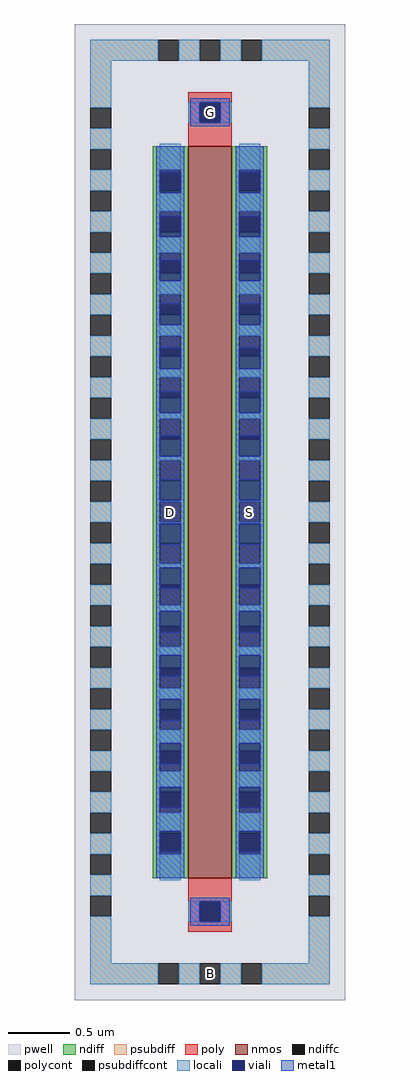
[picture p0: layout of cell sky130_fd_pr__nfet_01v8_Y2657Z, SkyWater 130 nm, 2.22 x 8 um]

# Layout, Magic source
magic
tech sky130A
magscale 1 2
<< pwell >>
rect -222 -800 222 800
<< nmos >>
rect -36 -600 36 600
<< ndiff >>
rect -94 561 -36 600
rect -94 527 -82 561
rect -48 527 -36 561
rect -94 493 -36 527
rect -94 459 -82 493
rect -48 459 -36 493
rect -94 425 -36 459
rect -94 391 -82 425
rect -48 391 -36 425
rect -94 357 -36 391
rect -94 323 -82 357
rect -48 323 -36 357
rect -94 289 -36 323
rect -94 255 -82 289
rect -48 255 -36 289
rect -94 221 -36 255
rect -94 187 -82 221
rect -48 187 -36 221
rect -94 153 -36 187
rect -94 119 -82 153
rect -48 119 -36 153
rect -94 85 -36 119
rect -94 51 -82 85
rect -48 51 -36 85
rect -94 17 -36 51
rect -94 -17 -82 17
rect -48 -17 -36 17
rect -94 -51 -36 -17
rect -94 -85 -82 -51
rect -48 -85 -36 -51
rect -94 -119 -36 -85
rect -94 -153 -82 -119
rect -48 -153 -36 -119
rect -94 -187 -36 -153
rect -94 -221 -82 -187
rect -48 -221 -36 -187
rect -94 -255 -36 -221
rect -94 -289 -82 -255
rect -48 -289 -36 -255
rect -94 -323 -36 -289
rect -94 -357 -82 -323
rect -48 -357 -36 -323
rect -94 -391 -36 -357
rect -94 -425 -82 -391
rect -48 -425 -36 -391
rect -94 -459 -36 -425
rect -94 -493 -82 -459
rect -48 -493 -36 -459
rect -94 -527 -36 -493
rect -94 -561 -82 -527
rect -48 -561 -36 -527
rect -94 -600 -36 -561
rect 36 561 94 600
rect 36 527 48 561
rect 82 527 94 561
rect 36 493 94 527
rect 36 459 48 493
rect 82 459 94 493
rect 36 425 94 459
rect 36 391 48 425
rect 82 391 94 425
rect 36 357 94 391
rect 36 323 48 357
rect 82 323 94 357
rect 36 289 94 323
rect 36 255 48 289
rect 82 255 94 289
rect 36 221 94 255
rect 36 187 48 221
rect 82 187 94 221
rect 36 153 94 187
rect 36 119 48 153
rect 82 119 94 153
rect 36 85 94 119
rect 36 51 48 85
rect 82 51 94 85
rect 36 17 94 51
rect 36 -17 48 17
rect 82 -17 94 17
rect 36 -51 94 -17
rect 36 -85 48 -51
rect 82 -85 94 -51
rect 36 -119 94 -85
rect 36 -153 48 -119
rect 82 -153 94 -119
rect 36 -187 94 -153
rect 36 -221 48 -187
rect 82 -221 94 -187
rect 36 -255 94 -221
rect 36 -289 48 -255
rect 82 -289 94 -255
rect 36 -323 94 -289
rect 36 -357 48 -323
rect 82 -357 94 -323
rect 36 -391 94 -357
rect 36 -425 48 -391
rect 82 -425 94 -391
rect 36 -459 94 -425
rect 36 -493 48 -459
rect 82 -493 94 -459
rect 36 -527 94 -493
rect 36 -561 48 -527
rect 82 -561 94 -527
rect 36 -600 94 -561
<< ndiffc >>
rect -82 527 -48 561
rect -82 459 -48 493
rect -82 391 -48 425
rect -82 323 -48 357
rect -82 255 -48 289
rect -82 187 -48 221
rect -82 119 -48 153
rect -82 51 -48 85
rect -82 -17 -48 17
rect -82 -85 -48 -51
rect -82 -153 -48 -119
rect -82 -221 -48 -187
rect -82 -289 -48 -255
rect -82 -357 -48 -323
rect -82 -425 -48 -391
rect -82 -493 -48 -459
rect -82 -561 -48 -527
rect 48 527 82 561
rect 48 459 82 493
rect 48 391 82 425
rect 48 323 82 357
rect 48 255 82 289
rect 48 187 82 221
rect 48 119 82 153
rect 48 51 82 85
rect 48 -17 82 17
rect 48 -85 82 -51
rect 48 -153 82 -119
rect 48 -221 82 -187
rect 48 -289 82 -255
rect 48 -357 82 -323
rect 48 -425 82 -391
rect 48 -493 82 -459
rect 48 -561 82 -527
<< psubdiff >>
rect -196 740 -85 774
rect -51 740 -17 774
rect 17 740 51 774
rect 85 740 196 774
rect -196 663 -162 740
rect -196 595 -162 629
rect 162 663 196 740
rect -196 527 -162 561
rect -196 459 -162 493
rect -196 391 -162 425
rect -196 323 -162 357
rect -196 255 -162 289
rect -196 187 -162 221
rect -196 119 -162 153
rect -196 51 -162 85
rect -196 -17 -162 17
rect -196 -85 -162 -51
rect -196 -153 -162 -119
rect -196 -221 -162 -187
rect -196 -289 -162 -255
rect -196 -357 -162 -323
rect -196 -425 -162 -391
rect -196 -493 -162 -459
rect -196 -561 -162 -527
rect -196 -629 -162 -595
rect 162 595 196 629
rect 162 527 196 561
rect 162 459 196 493
rect 162 391 196 425
rect 162 323 196 357
rect 162 255 196 289
rect 162 187 196 221
rect 162 119 196 153
rect 162 51 196 85
rect 162 -17 196 17
rect 162 -85 196 -51
rect 162 -153 196 -119
rect 162 -221 196 -187
rect 162 -289 196 -255
rect 162 -357 196 -323
rect 162 -425 196 -391
rect 162 -493 196 -459
rect 162 -561 196 -527
rect -196 -740 -162 -663
rect 162 -629 196 -595
rect 162 -740 196 -663
rect -196 -774 -85 -740
rect -51 -774 -17 -740
rect 17 -774 51 -740
rect 85 -774 196 -740
<< psubdiffcont >>
rect -85 740 -51 774
rect -17 740 17 774
rect 51 740 85 774
rect -196 629 -162 663
rect 162 629 196 663
rect -196 561 -162 595
rect -196 493 -162 527
rect -196 425 -162 459
rect -196 357 -162 391
rect -196 289 -162 323
rect -196 221 -162 255
rect -196 153 -162 187
rect -196 85 -162 119
rect -196 17 -162 51
rect -196 -51 -162 -17
rect -196 -119 -162 -85
rect -196 -187 -162 -153
rect -196 -255 -162 -221
rect -196 -323 -162 -289
rect -196 -391 -162 -357
rect -196 -459 -162 -425
rect -196 -527 -162 -493
rect -196 -595 -162 -561
rect 162 561 196 595
rect 162 493 196 527
rect 162 425 196 459
rect 162 357 196 391
rect 162 289 196 323
rect 162 221 196 255
rect 162 153 196 187
rect 162 85 196 119
rect 162 17 196 51
rect 162 -51 196 -17
rect 162 -119 196 -85
rect 162 -187 196 -153
rect 162 -255 196 -221
rect 162 -323 196 -289
rect 162 -391 196 -357
rect 162 -459 196 -425
rect 162 -527 196 -493
rect 162 -595 196 -561
rect -196 -663 -162 -629
rect 162 -663 196 -629
rect -85 -774 -51 -740
rect -17 -774 17 -740
rect 51 -774 85 -740
<< poly >>
rect -36 672 36 688
rect -36 638 -17 672
rect 17 638 36 672
rect -36 600 36 638
rect -36 -638 36 -600
rect -36 -672 -17 -638
rect 17 -672 36 -638
rect -36 -688 36 -672
<< polycont >>
rect -17 638 17 672
rect -17 -672 17 -638
<< locali >>
rect -196 740 -85 774
rect -51 740 -17 774
rect 17 740 51 774
rect 85 740 196 774
rect -196 663 -162 740
rect -36 638 -17 672
rect 17 638 36 672
rect 162 663 196 740
rect -196 595 -162 629
rect -196 527 -162 561
rect -196 459 -162 493
rect -196 391 -162 425
rect -196 323 -162 357
rect -196 255 -162 289
rect -196 187 -162 221
rect -196 119 -162 153
rect -196 51 -162 85
rect -196 -17 -162 17
rect -196 -85 -162 -51
rect -196 -153 -162 -119
rect -196 -221 -162 -187
rect -196 -289 -162 -255
rect -196 -357 -162 -323
rect -196 -425 -162 -391
rect -196 -493 -162 -459
rect -196 -561 -162 -527
rect -196 -629 -162 -595
rect -82 561 -48 604
rect -82 493 -48 523
rect -82 425 -48 451
rect -82 357 -48 379
rect -82 289 -48 307
rect -82 221 -48 235
rect -82 153 -48 163
rect -82 85 -48 91
rect -82 17 -48 19
rect -82 -19 -48 -17
rect -82 -91 -48 -85
rect -82 -163 -48 -153
rect -82 -235 -48 -221
rect -82 -307 -48 -289
rect -82 -379 -48 -357
rect -82 -451 -48 -425
rect -82 -523 -48 -493
rect -82 -604 -48 -561
rect 48 561 82 604
rect 48 493 82 523
rect 48 425 82 451
rect 48 357 82 379
rect 48 289 82 307
rect 48 221 82 235
rect 48 153 82 163
rect 48 85 82 91
rect 48 17 82 19
rect 48 -19 82 -17
rect 48 -91 82 -85
rect 48 -163 82 -153
rect 48 -235 82 -221
rect 48 -307 82 -289
rect 48 -379 82 -357
rect 48 -451 82 -425
rect 48 -523 82 -493
rect 48 -604 82 -561
rect 162 595 196 629
rect 162 527 196 561
rect 162 459 196 493
rect 162 391 196 425
rect 162 323 196 357
rect 162 255 196 289
rect 162 187 196 221
rect 162 119 196 153
rect 162 51 196 85
rect 162 -17 196 17
rect 162 -85 196 -51
rect 162 -153 196 -119
rect 162 -221 196 -187
rect 162 -289 196 -255
rect 162 -357 196 -323
rect 162 -425 196 -391
rect 162 -493 196 -459
rect 162 -561 196 -527
rect 162 -629 196 -595
rect -196 -740 -162 -663
rect -36 -672 -17 -638
rect 17 -672 36 -638
rect 162 -740 196 -663
rect -196 -774 -85 -740
rect -51 -774 -17 -740
rect 17 -774 51 -740
rect 85 -774 196 -740
<< viali >>
rect -17 638 17 672
rect -82 527 -48 557
rect -82 523 -48 527
rect -82 459 -48 485
rect -82 451 -48 459
rect -82 391 -48 413
rect -82 379 -48 391
rect -82 323 -48 341
rect -82 307 -48 323
rect -82 255 -48 269
rect -82 235 -48 255
rect -82 187 -48 197
rect -82 163 -48 187
rect -82 119 -48 125
rect -82 91 -48 119
rect -82 51 -48 53
rect -82 19 -48 51
rect -82 -51 -48 -19
rect -82 -53 -48 -51
rect -82 -119 -48 -91
rect -82 -125 -48 -119
rect -82 -187 -48 -163
rect -82 -197 -48 -187
rect -82 -255 -48 -235
rect -82 -269 -48 -255
rect -82 -323 -48 -307
rect -82 -341 -48 -323
rect -82 -391 -48 -379
rect -82 -413 -48 -391
rect -82 -459 -48 -451
rect -82 -485 -48 -459
rect -82 -527 -48 -523
rect -82 -557 -48 -527
rect 48 527 82 557
rect 48 523 82 527
rect 48 459 82 485
rect 48 451 82 459
rect 48 391 82 413
rect 48 379 82 391
rect 48 323 82 341
rect 48 307 82 323
rect 48 255 82 269
rect 48 235 82 255
rect 48 187 82 197
rect 48 163 82 187
rect 48 119 82 125
rect 48 91 82 119
rect 48 51 82 53
rect 48 19 82 51
rect 48 -51 82 -19
rect 48 -53 82 -51
rect 48 -119 82 -91
rect 48 -125 82 -119
rect 48 -187 82 -163
rect 48 -197 82 -187
rect 48 -255 82 -235
rect 48 -269 82 -255
rect 48 -323 82 -307
rect 48 -341 82 -323
rect 48 -391 82 -379
rect 48 -413 82 -391
rect 48 -459 82 -451
rect 48 -485 82 -459
rect 48 -527 82 -523
rect 48 -557 82 -527
rect -17 -672 17 -638
<< metal1 >>
rect -32 672 32 678
rect -32 638 -17 672
rect 17 638 32 672
rect -32 632 32 638
rect -88 557 -42 600
rect -88 523 -82 557
rect -48 523 -42 557
rect -88 485 -42 523
rect -88 451 -82 485
rect -48 451 -42 485
rect -88 413 -42 451
rect -88 379 -82 413
rect -48 379 -42 413
rect -88 341 -42 379
rect -88 307 -82 341
rect -48 307 -42 341
rect -88 269 -42 307
rect -88 235 -82 269
rect -48 235 -42 269
rect -88 197 -42 235
rect -88 163 -82 197
rect -48 163 -42 197
rect -88 125 -42 163
rect -88 91 -82 125
rect -48 91 -42 125
rect -88 53 -42 91
rect -88 19 -82 53
rect -48 19 -42 53
rect -88 -19 -42 19
rect -88 -53 -82 -19
rect -48 -53 -42 -19
rect -88 -91 -42 -53
rect -88 -125 -82 -91
rect -48 -125 -42 -91
rect -88 -163 -42 -125
rect -88 -197 -82 -163
rect -48 -197 -42 -163
rect -88 -235 -42 -197
rect -88 -269 -82 -235
rect -48 -269 -42 -235
rect -88 -307 -42 -269
rect -88 -341 -82 -307
rect -48 -341 -42 -307
rect -88 -379 -42 -341
rect -88 -413 -82 -379
rect -48 -413 -42 -379
rect -88 -451 -42 -413
rect -88 -485 -82 -451
rect -48 -485 -42 -451
rect -88 -523 -42 -485
rect -88 -557 -82 -523
rect -48 -557 -42 -523
rect -88 -600 -42 -557
rect 42 557 88 600
rect 42 523 48 557
rect 82 523 88 557
rect 42 485 88 523
rect 42 451 48 485
rect 82 451 88 485
rect 42 413 88 451
rect 42 379 48 413
rect 82 379 88 413
rect 42 341 88 379
rect 42 307 48 341
rect 82 307 88 341
rect 42 269 88 307
rect 42 235 48 269
rect 82 235 88 269
rect 42 197 88 235
rect 42 163 48 197
rect 82 163 88 197
rect 42 125 88 163
rect 42 91 48 125
rect 82 91 88 125
rect 42 53 88 91
rect 42 19 48 53
rect 82 19 88 53
rect 42 -19 88 19
rect 42 -53 48 -19
rect 82 -53 88 -19
rect 42 -91 88 -53
rect 42 -125 48 -91
rect 82 -125 88 -91
rect 42 -163 88 -125
rect 42 -197 48 -163
rect 82 -197 88 -163
rect 42 -235 88 -197
rect 42 -269 48 -235
rect 82 -269 88 -235
rect 42 -307 88 -269
rect 42 -341 48 -307
rect 82 -341 88 -307
rect 42 -379 88 -341
rect 42 -413 48 -379
rect 82 -413 88 -379
rect 42 -451 88 -413
rect 42 -485 48 -451
rect 82 -485 88 -451
rect 42 -523 88 -485
rect 42 -557 48 -523
rect 82 -557 88 -523
rect 42 -600 88 -557
rect -32 -638 32 -632
rect -32 -672 -17 -638
rect 17 -672 32 -638
rect -32 -678 32 -672
<< labels >>
rlabel locali s 0 -757 0 -757 4 B
rlabel locali s -65 0 -65 0 4 D
rlabel locali s 65 0 65 0 4 S
rlabel locali s 0 655 0 655 4 G
<< properties >>
string FIXED_BBOX -179 -757 179 757
<< end >>
